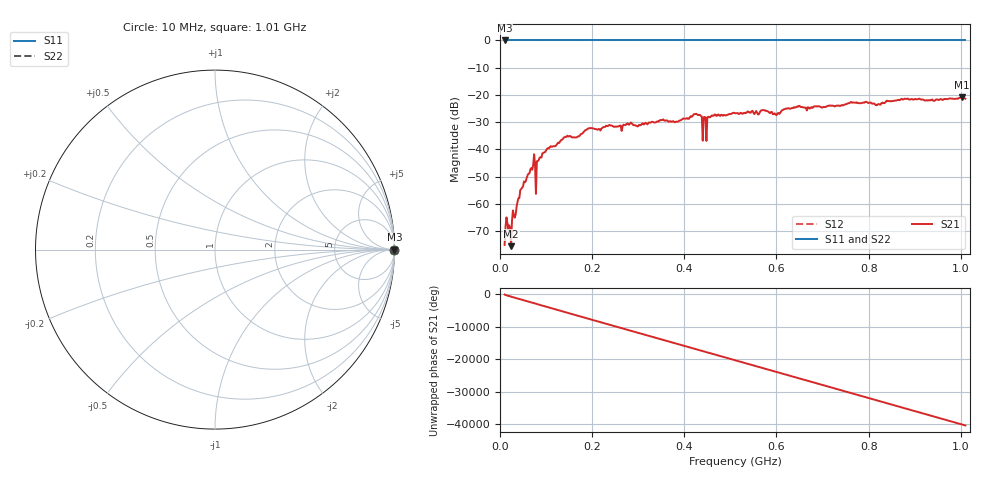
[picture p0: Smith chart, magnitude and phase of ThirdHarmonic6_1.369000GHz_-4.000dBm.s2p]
! 8/16/2025 3:29:42 PM
! C:\ANRITSUVNA\TEMP\TEMP.S2P
! CHANNEL.1
! TR.MEASUREMENT
! RAW.DATA
! RF.CORRECTION.OFF
! AVERAGING.OFF
! IF.BANDWIDTH: 5KHZ
! SWEEPTYPE:  FREQ.SWEEP(Linear)
! Reference Plane Port Info
! PORT:  PORT1  PORT2
! DISTANCE:  0  m  0  m
! TIME:  0  s  0  s
! PHASE.OFFSET:  0  deg.  0  deg.
! LOSS:  0  dB  0  dB
! REF.LOSS:  0  dB  0  dB
! REF.FREQ:  0  Hz  0  Hz
! Power Info
! POWER:  -20  dBm  -20  dBm
! EFF.POWER:  -20  dBm  -20  dBm
! SOURCE.ATTEN:  0  dB  0  dB
! TEST.ATTEN:  0  dB  0  dB
# GHZ S RI R 50.0
! FREQ.GHZ  S11RE  S11IM  S21RE  S21IM  S12RE  S12IM  S22RE  S22IM
!; PortSelection: Port_12
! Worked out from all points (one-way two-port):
!   501 points, 10 MHz to 1.01 GHz, reference 50 ohm
!   highest |S21| = -20.90 dB at 1.002 GHz (marker M1); lowest = -75.6 dB at 24 MHz (marker M2)
!   lowest |S11| = 0.0 dB at 10 MHz (marker M3)
!   |S11| at or under -10 dB: nowhere
!   |S22| runs from 0.0 to 0.0 dB; largest |S21 - S12| = 1.1
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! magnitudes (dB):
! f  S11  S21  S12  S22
! 10 MHz  0.0  -75.2  0.0  0.0
! 16 MHz  0.0  -67.0  0.0  0.0
! 20 MHz  0.0  -67.9  0.0  0.0
! 24 MHz  0.0  -75.6  0.0  0.0
! 48 MHz  0.0  -54.1  0.0  0.0
! 70 MHz  0.0  -47.5  0.0  0.0
! 80 MHz  0.0  -44.4  0.0  0.0
! 84 MHz  0.0  -44.0  0.0  0.0
! 96 MHz  0.0  -41.1  0.0  0.0
! 142 MHz  0.0  -35.5  0.0  0.0
! 178 MHz  0.0  -34.3  0.0  0.0
! 344 MHz  0.0  -29.9  0.0  0.0
! 424 MHz  0.0  -27.1  0.0  0.0
! 434 MHz  0.0  -27.4  0.0  0.0
! 444 MHz  0.0  -28.1  0.0  0.0
! 454 MHz  0.0  -28.2  0.0  0.0
! 510 MHz  0.0  -26.7  0.0  0.0
! 596 MHz  0.0  -26.8  0.0  0.0
! 678 MHz  0.0  -24.8  0.0  0.0
! 844 MHz  0.0  -22.3  0.0  0.0
! 1.002 GHz  0.0  -20.9  0.0  0.0
! 1.01 GHz  0.0  -21.4  0.0  0.0
